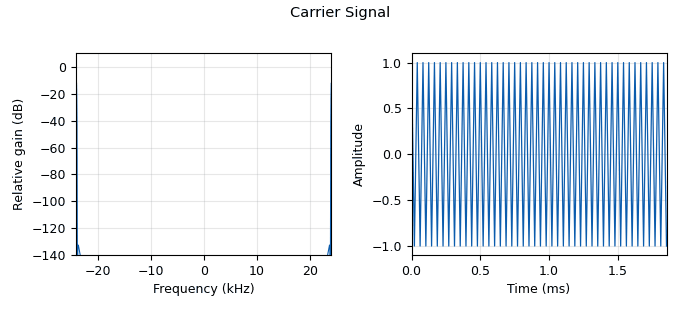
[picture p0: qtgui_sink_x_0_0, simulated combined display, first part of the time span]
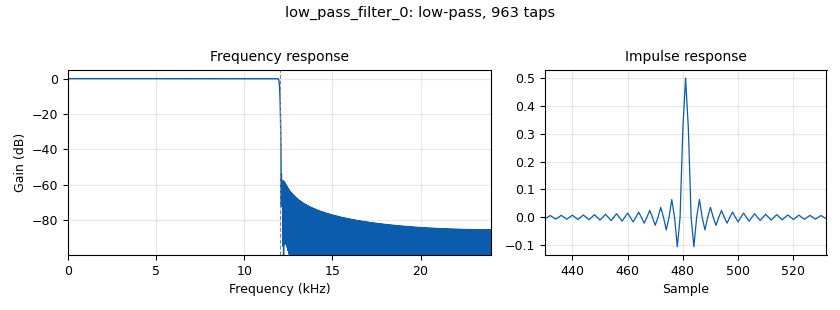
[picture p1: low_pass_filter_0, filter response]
options:
  parameters:
    author: Santosh
    copyright: '2022'
    generate_options: qt_gui
    id: Amplitude_Modulation_WAV_File
    output_language: python
    title: Amplitude_Modulation_WAV_File
  states: {}

blocks:
- name: samp_rate
  id: variable
  parameters:
    value: '48000'
  states: {}
- name: analog_sig_source_x_0_0
  id: analog_sig_source_x
  parameters:
    amp: '1'
    freq: '24000'
    offset: '0'
    phase: '0'
    samp_rate: samp_rate
    type: float
    waveform: analog.GR_COS_WAVE
  states: {}
- name: blocks_multiply_xx_0
  id: blocks_multiply_xx
  parameters:
    type: float
  states: {}
- name: blocks_multiply_xx_0_0
  id: blocks_multiply_xx
  parameters:
    type: float
  states: {}
- name: blocks_wavfile_sink_0
  id: blocks_wavfile_sink
  parameters:
    bits_per_sample1: FORMAT_PCM_16
    file: /home/santosh/19CCE382 - Communication Systems Design Lab/Experiment 3 - AM/Demodulated_Audio
    format: FORMAT_WAV
    samp_rate: samp_rate
  states: {}
- name: blocks_wavfile_source_0
  id: blocks_wavfile_source
  parameters:
    file: E:\Plan B\Amrita Vishwa Vidyapeetham\Subject Materials\Semester V\19CCE382 - Communication Systems Design Lab\Experiment 3 - DSB-SC Singletone and Multitone Signals\Amplitude_Modulation_WAV_File\Impact_Moderato.wav
    repeat: 'True'
  states: {}
- name: low_pass_filter_0
  id: low_pass_filter
  parameters:
    cutoff_freq: '12000'
    gain: '1'
    interp: '1'
    samp_rate: samp_rate
    type: interp_fir_filter_fff
    width: '120'
    win: window.WIN_HAMMING
  states: {}
- name: qtgui_sink_x_0
  id: qtgui_sink_x
  parameters:
    bw: samp_rate
    fc: '0'
    fftsize: '1024'
    name: Baseband Signal
    type: float
  states: {}
- name: qtgui_sink_x_0_0
  id: qtgui_sink_x
  parameters:
    bw: samp_rate
    fc: '0'
    fftsize: '1024'
    name: Carrier Signal
    type: float
  states: {}
- name: qtgui_sink_x_0_1
  id: qtgui_sink_x
  parameters:
    bw: samp_rate
    fc: '0'
    fftsize: '1024'
    name: Modulated Signal
    type: float
  states: {}
- name: qtgui_sink_x_0_1_0
  id: qtgui_sink_x
  parameters:
    bw: samp_rate
    fc: '0'
    fftsize: '1024'
    name: Demodulated Signal
    type: float
  states: {}

connections:
- [analog_sig_source_x_0_0, '0', blocks_multiply_xx_0, '1']
- [analog_sig_source_x_0_0, '0', blocks_multiply_xx_0_0, '1']
- [analog_sig_source_x_0_0, '0', qtgui_sink_x_0_0, '0']
- [blocks_multiply_xx_0, '0', blocks_multiply_xx_0_0, '0']
- [blocks_multiply_xx_0, '0', qtgui_sink_x_0_1, '0']
- [blocks_multiply_xx_0_0, '0', low_pass_filter_0, '0']
- [blocks_wavfile_source_0, '0', blocks_multiply_xx_0, '0']
- [blocks_wavfile_source_0, '0', qtgui_sink_x_0, '0']
- [low_pass_filter_0, '0', blocks_wavfile_sink_0, '0']
- [low_pass_filter_0, '0', qtgui_sink_x_0_1_0, '0']

metadata:
  file_format: 1
  grc_version: 3.10.4.0
